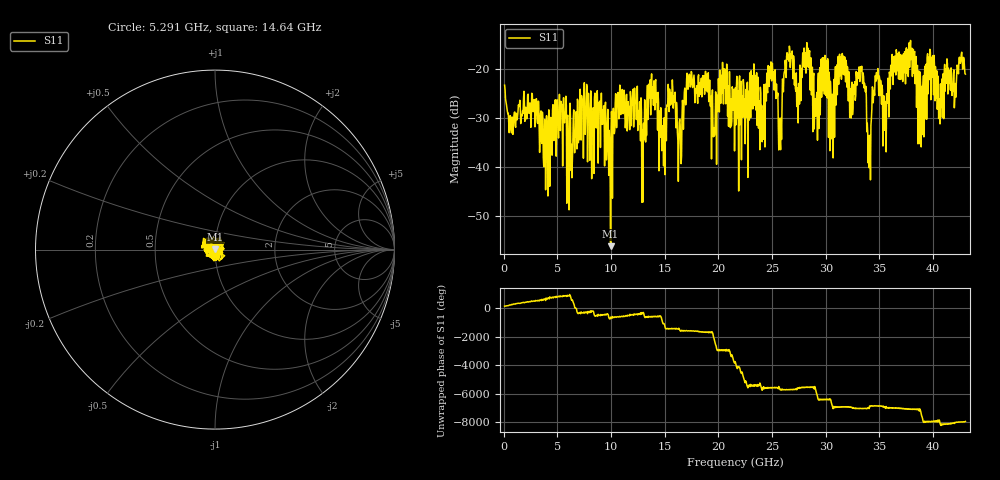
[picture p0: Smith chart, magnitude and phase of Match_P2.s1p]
# Hz S RI R 50.000000
! Metas.Vna.Tools, 2.9.9438.25149
! Metas.Vna.Data, 2.9.9438.25100
! Created: UTC 2026.07.01 05:47:42
! FREQ  re:S2,2  im:S2,2
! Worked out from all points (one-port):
!   1001 points, 100 MHz to 43 GHz, reference 50 ohm
!   lowest |S11| = -56.2 dB at 9.967 GHz (marker M1), VSWR 1.00, Z = 50 + j0.152 ohm
!   |S11| at or under -10 dB: start of sweep to end of sweep
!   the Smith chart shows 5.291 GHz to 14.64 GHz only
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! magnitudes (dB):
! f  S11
! 100 MHz  -23.3
! 3.918 GHz  -44.7
! 5.463 GHz  -27.9
! 6.235 GHz  -30.7
! 9.109 GHz  -24.9
! 9.967 GHz  -56.2
! 10.82 GHz  -23.3
! 16.19 GHz  -33.0
! 17.3 GHz  -21.1
! 21.55 GHz  -26.6
! 24 GHz  -32.2
! 24.85 GHz  -21.2
! 25.71 GHz  -31.1
! 26.91 GHz  -18.6
! 28.41 GHz  -19.7
! 29.01 GHz  -26.1
! 30.6 GHz  -25.2
! 31.46 GHz  -22.1
! 32.27 GHz  -24.0
! 33.43 GHz  -22.9
! 34.03 GHz  -40.2
! 34.68 GHz  -22.5
! 35.54 GHz  -26.6
! 37.64 GHz  -16.0
! 38.92 GHz  -25.2
! 39.65 GHz  -22.1
! 40.64 GHz  -31.2
! 43 GHz  -21.0
